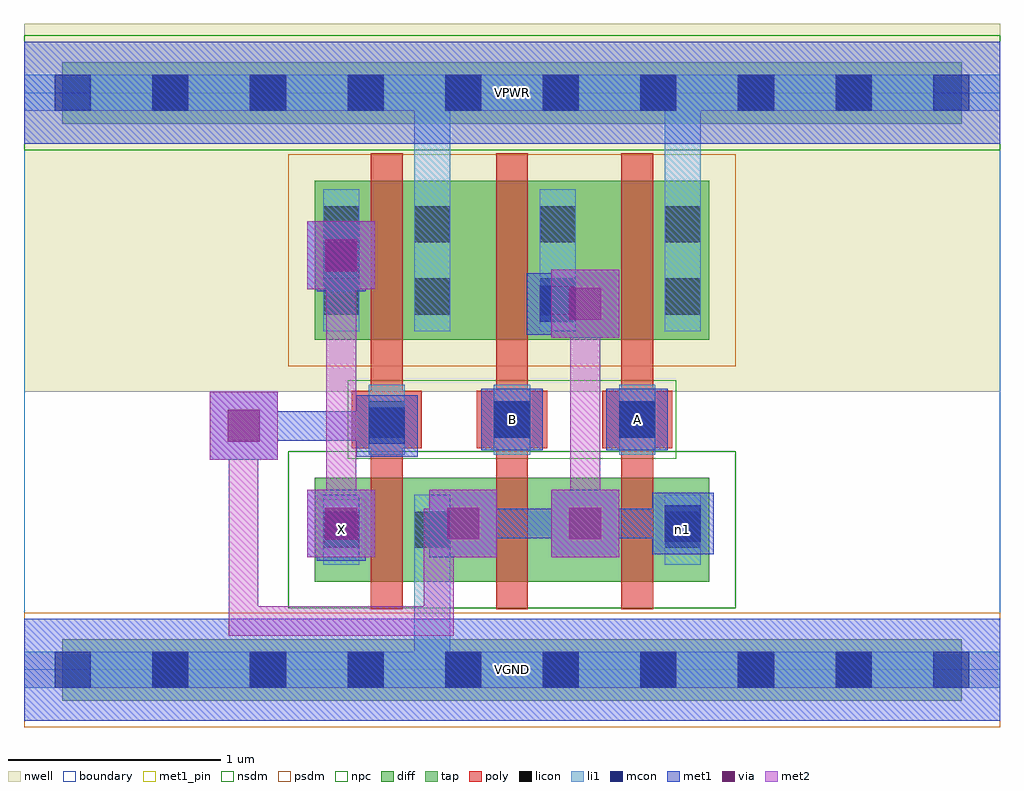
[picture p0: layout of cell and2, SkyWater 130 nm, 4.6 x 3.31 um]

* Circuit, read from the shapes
.subckt and2 A B VGND VPWR X n1
XM1 VGND n1 X VGND sky130_fd_pr__nfet_01v8 w=0.49 l=0.15
XM2 n2 B VGND VGND sky130_fd_pr__nfet_01v8 w=0.49 l=0.15
XM3 n1 A n2 VGND sky130_fd_pr__nfet_01v8 w=0.49 l=0.15
XM4 VPWR n1 X VPWR sky130_fd_pr__pfet_01v8 w=0.75 l=0.15
XM5 n1 B VPWR VPWR sky130_fd_pr__pfet_01v8 w=0.75 l=0.15
XM6 VPWR A n1 VPWR sky130_fd_pr__pfet_01v8 w=0.75 l=0.15
.ends

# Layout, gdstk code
import gdstk
lib = gdstk.Library(unit=1e-6, precision=1e-09)
def R(c, l, rs):  # rectangles x0, y0, x1, y1
    for r in rs: c.add(gdstk.rectangle(r[:2], r[2:], *l))
def A(c, l, x, y, w, h, nx, ny, dx, dy):  # array of equal rectangles
    R(c, l, [(x+i*dx, y+j*dy, x+i*dx+w, y+j*dy+h) for i in range(nx) for j in range(ny)])
nwell = (64, 20)
diff = (65, 20)
tap = (65, 44)
poly = (66, 20)
licon = (66, 44)
li1 = (67, 20)
mcon = (67, 44)
met1_pin = (68, 16)
met1 = (68, 20)
via = (68, 44)
met2 = (69, 20)
nsdm = (93, 44)
psdm = (94, 20)
npc = (95, 20)
boundary = (235, 4)

and2 = lib.new_cell('and2')
R(and2, nwell, [(0,1.31,4.6,3.045)])
R(and2, diff, [(1.37,0.415,3.23,0.905), (1.37,1.555,3.23,2.305)])
R(and2, tap, [(0.18,-0.145,4.42,0.145), (0.18,2.575,4.42,2.865)])
A(and2, poly, 1.635, 0.285, 0.15, 2.15, 3, 1, 0.59, 0)
A(and2, poly, 1.545, 1.045, 0.33, 0.27, 3, 1, 0.59, 0)
A(and2, licon, 0.605, -0.085, 0.17, 0.17, 8, 2, 0.46, 2.72)
A(and2, licon, 1.625, 1.095, 0.17, 0.17, 3, 1, 0.59, 0)
A(and2, licon, 1.84, 1.675, 0.17, 0.17, 3, 2, 0.59, 0.34)
R(and2, licon, [(1.41,0.575,1.58,0.745), (1.84,0.575,2.01,0.745), (3.02,0.575,3.19,0.745), (1.41,1.675,1.58,1.845), (1.41,2.015,1.58,2.185)])
A(and2, li1, 1.625, 1.015, 0.17, 0.33, 3, 1, 0.59, 0)
A(and2, li1, 1.84, 1.595, 0.17, 0.67, 3, 1, 0.59, 0)
R(and2, li1, [(0,-0.085,4.6,0.085), (1.84,-0.085,2.01,0.825), (1.41,0.495,1.58,0.825), (1.84,0.495,2.01,0.825), (3.02,0.495,3.19,0.825), (1.41,1.595,1.58,2.265), (1.84,1.595,2.01,2.805), (3.02,1.595,3.19,2.805), (0,2.635,4.6,2.805)])
A(and2, mcon, 0.145, -0.085, 0.17, 0.17, 10, 2, 0.46, 2.72)
R(and2, mcon, [(1.41,0.575,1.58,0.745), (3.02,0.605,3.19,0.775), (1.625,1.065,1.795,1.235), (2.215,1.095,2.385,1.265), (2.805,1.095,2.975,1.265), (2.43,1.64,2.6,1.81), (1.41,1.845,1.58,2.015)])
R(and2, met1_pin, [(0,-0.24,4.6,0.24), (1.38,0.515,1.61,0.805), (2.155,1.035,2.445,1.325), (2.745,1.035,3.035,1.325), (0,2.48,4.6,2.96)])
A(and2, met1, 1.335, 0.53, 0.32, 0.32, 3, 1, 0.575, 0)
R(and2, met1, [(0,-0.24,4.6,0.24), (1.38,0.515,1.61,0.805), (2.96,0.545,3.25,0.835), (1.425,0.62,1.565,0.76), (2,0.62,2.715,0.76), (2.575,0.62,3.175,0.76), (0.875,0.99,1.195,1.31), (1.565,1.005,1.855,1.295), (2.155,1.035,2.445,1.325), (2.745,1.035,3.035,1.325), (0.965,1.08,1.68,1.22), (1.54,1.08,1.78,1.22), (2.485,1.565,2.805,1.885), (2.37,1.58,2.66,1.87), (2.445,1.655,2.715,1.795), (1.38,1.785,1.61,2.075), (1.335,1.795,1.655,2.115), (1.425,1.885,1.565,2.025), (0,2.48,4.6,2.96)])
A(and2, via, 1.42, 0.615, 0.15, 0.15, 3, 1, 0.575, 0)
R(and2, via, [(0.96,1.075,1.11,1.225), (2.57,1.65,2.72,1.8), (1.42,1.88,1.57,2.03)])
A(and2, met2, 1.335, 0.53, 0.32, 0.32, 3, 1, 0.575, 0)
R(and2, met2, [(0.965,0.16,2.025,0.3), (0.965,0.16,1.105,1.22), (1.885,0.16,2.025,0.76), (1.425,0.62,1.565,2.025), (1.885,0.62,2.14,0.76), (2.575,0.62,2.715,1.795), (0.875,0.99,1.195,1.31), (2.485,1.565,2.805,1.885), (1.335,1.795,1.655,2.115)])
R(and2, nsdm, [(1.245,0.29,3.355,1.03), (0,2.45,4.6,2.99)])
R(and2, psdm, [(0,-0.27,4.6,0.27), (1.245,1.43,3.355,2.43)])
R(and2, npc, [(1.525,0.995,3.075,1.365)])
R(and2, boundary, [(0,0,4.6,2.72)])
and2.add(gdstk.Label('n1', (3.105,0.66), layer=67, texttype=5))
and2.add(gdstk.Label('A', (2.89,1.18), layer=68, texttype=5))
and2.add(gdstk.Label('B', (2.3,1.18), layer=68, texttype=5))
and2.add(gdstk.Label('X', (1.495,0.66), layer=68, texttype=5))
and2.add(gdstk.Label('VPWR', (2.3,2.72), layer=68, texttype=5))
and2.add(gdstk.Label('VGND', (2.3,0), layer=68, texttype=5))
and2.add(gdstk.Label('A', (2.89,1.18), layer=68, texttype=16))
and2.add(gdstk.Label('B', (2.3,1.18), layer=68, texttype=16))
and2.add(gdstk.Label('X', (1.495,0.66), layer=68, texttype=16))
and2.add(gdstk.Label('VPWR', (2.3,2.72), layer=68, texttype=16))
and2.add(gdstk.Label('VGND', (2.3,0), layer=68, texttype=16))

lib.write_gds('and2.gds')
